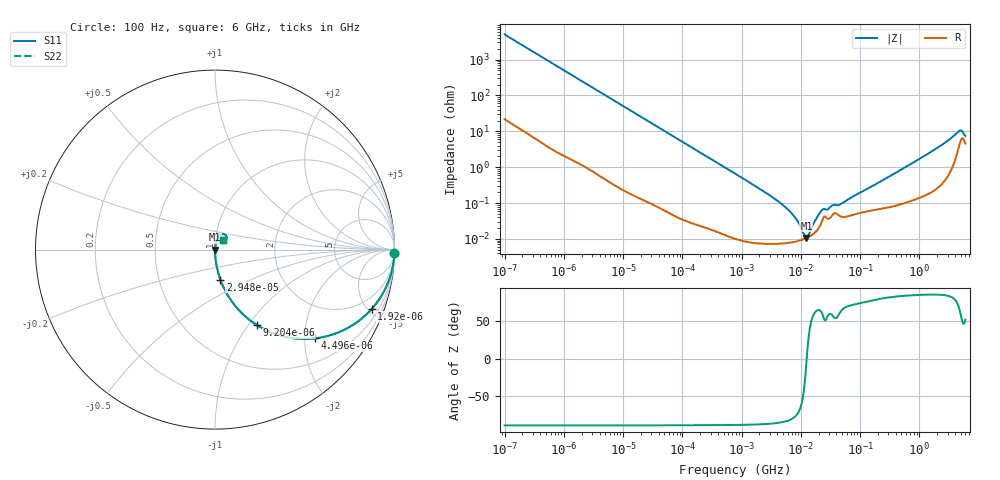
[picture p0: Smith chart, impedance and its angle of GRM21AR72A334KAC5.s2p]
!Murata Part Number: GRM21AR72A334KAC5
!These Parameters are Measured in Series Mode Connection
!Data Generated on Mar 30, 2021
!  o--ll--o
!Port1  Port2
!  o------o
!Operation Temp=25[degC], DC Bias Voltage=0[V]
!Freq. Start=100[Hz] Stop=6[GHz] 401[Steps]
# Hz S RI R 50
!Freq.(Hz) S11(Real) S11(Imag) S21(Real) S21(Imag) S12(Real) S12(Imag) S22(Real) S22(Imag)
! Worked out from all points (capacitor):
!   401 points, 100 Hz to 6 GHz, reference 50 ohm
!   read as one part in series: C = 317 nF near 109 Hz
!   lowest |Z| = 10.6 mohm at 12.44 MHz (marker M1)
!   series resonance near 12.58 MHz, so ESL is about 500 pH
!   S11 on the Smith chart (normalised r, x): 100 Hz: open; 1.92 kHz: 1.02, -5.26; 4.496 kHz: 1.01, -2.25; 9.204 kHz: 1.00, -1.10; 29.48 kHz: 1.00, -0.35; 6 GHz: 1.09, +0.12
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100  0.9995 -0.0199  0.000485 0.0199  0.000485 0.0199  0.9995 -0.0199
548  0.9879 -0.1075  0.0121 0.1075  0.0121 0.1075  0.9879 -0.1075
1920  0.8725 -0.3312  0.1275 0.3312  0.1275 0.3312  0.8725 -0.3312
2008  0.8623 -0.3423  0.1377 0.3423  0.1377 0.3423  0.8623 -0.3423
4496  0.5589 -0.4943  0.4411 0.4943  0.4411 0.4943  0.5589 -0.4943
9204  0.234 -0.4211  0.766 0.4211  0.766 0.4211  0.234 -0.4211
15752  0.0953 -0.2913  0.9047 0.2913  0.9047 0.2913  0.0953 -0.2913
29482  0.0298 -0.1673  0.9702 0.1673  0.9702 0.1673  0.0298 -0.1673
40335  0.0164 -0.1242  0.9836 0.1242  0.9836 0.1242  0.0164 -0.1242
774597  0.000145 -0.00663  0.9999 0.00663  0.9999 0.00663  0.000145 -0.00663
5554849  7.63e-05 -0.000751  0.9999 0.000751  0.9999 0.000751  7.63e-05 -0.000751
7947587  8.32e-05 -0.000393  0.9999 0.000393  0.9999 0.000393  8.32e-05 -0.000393
1.137099e7  9.92e-05 -8.41e-05  0.9999 8.41e-05  0.9999 8.41e-05  9.92e-05 -8.41e-05
1.243624e7  0.000106 -9.4e-06  0.9999 9.4e-06  0.9999 9.4e-06  0.000106 -9.4e-06
1.360128e7  0.000114 6.58e-05  0.9999 -6.58e-05  0.9999 -6.58e-05  0.000114 6.58e-05
1.555665e7  0.000131 0.000182  0.9999 -0.000182  0.9999 -0.000182  0.000131 0.000182
2.327686e7  0.000341 0.000568  0.9997 -0.000568  0.9997 -0.000568  0.000341 0.000568
4.764863e7  0.000419 0.000843  0.9996 -0.000843  0.9996 -0.000843  0.000419 0.000843
3.124326e8  0.000792 0.00545  0.9992 -0.00545  0.9992 -0.00545  0.000792 0.00545
1.95892e9  0.0036 0.0332  0.9964 -0.0332  0.9964 -0.0332  0.0036 0.0332
4.586474e9  0.0399 0.0862  0.9601 -0.0862  0.9601 -0.0862  0.0399 0.0862
6e9  0.0466 0.0537  0.9534 -0.0537  0.9534 -0.0537  0.0466 0.0537
